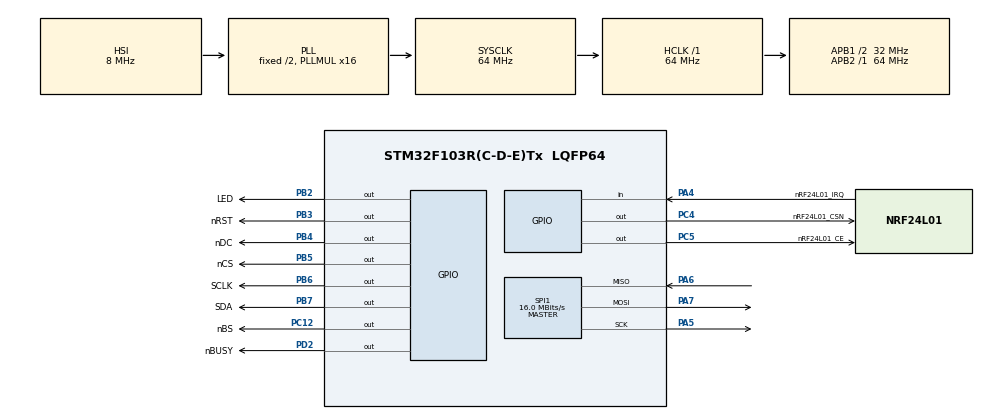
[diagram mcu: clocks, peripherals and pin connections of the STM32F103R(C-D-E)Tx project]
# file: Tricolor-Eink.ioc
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Mcu.Family=STM32F1
Mcu.Name=STM32F103R(C-D-E)Tx
Mcu.Package=LQFP64
NVIC.PriorityGroup=NVIC_PRIORITYGROUP_4
PA13.Mode=Serial_Wire
PA13.Signal=SYS_JTMS-SWDIO
PA14.Mode=Serial_Wire
PA14.Signal=SYS_JTCK-SWCLK
PA4.GPIO_Label=nRF24L01_IRQ
PA4.GPIO_PuPd=GPIO_PULLUP
PA4.Signal=GPIO_Input
PA5.Mode=Full_Duplex_Master
PA5.Signal=SPI1_SCK
PA6.Mode=Full_Duplex_Master
PA6.Signal=SPI1_MISO
PA7.Mode=Full_Duplex_Master
PA7.Signal=SPI1_MOSI
PB2.GPIO_Label=LED
PB2.Signal=GPIO_Output
PB3.GPIO_Label=nRST
PB3.GPIO_Speed=GPIO_SPEED_FREQ_HIGH
PB3.PinState=GPIO_PIN_SET
PB3.Signal=GPIO_Output
PB4.GPIO_Label=nDC
PB4.GPIO_Speed=GPIO_SPEED_FREQ_HIGH
PB4.PinState=GPIO_PIN_SET
PB4.Signal=GPIO_Output
PB5.GPIO_Label=nCS
PB5.GPIO_Speed=GPIO_SPEED_FREQ_HIGH
PB5.PinState=GPIO_PIN_SET
PB5.Signal=GPIO_Output
PB6.GPIO_Label=SCLK
PB6.GPIO_Speed=GPIO_SPEED_FREQ_HIGH
PB6.PinState=GPIO_PIN_SET
PB6.Signal=GPIO_Output
PB7.GPIO_Label=SDA
PB7.GPIO_Speed=GPIO_SPEED_FREQ_HIGH
PB7.PinState=GPIO_PIN_SET
PB7.Signal=GPIO_Output
PC12.GPIO_Label=nBS
PC12.GPIO_Speed=GPIO_SPEED_FREQ_HIGH
PC12.PinState=GPIO_PIN_SET
PC12.Signal=GPIO_Output
PC4.GPIO_Label=nRF24L01_CSN
PC4.GPIO_Speed=GPIO_SPEED_FREQ_HIGH
PC4.PinState=GPIO_PIN_SET
PC4.Signal=GPIO_Output
PC5.GPIO_Label=nRF24L01_CE
PC5.GPIO_Speed=GPIO_SPEED_FREQ_HIGH
PC5.PinState=GPIO_PIN_SET
PC5.Signal=GPIO_Output
PD2.GPIO_Label=nBUSY
PD2.GPIO_Speed=GPIO_SPEED_FREQ_HIGH
PD2.PinState=GPIO_PIN_SET
PD2.Signal=GPIO_Output
ProjectManager.HeapSize=0x200
ProjectManager.StackSize=0x400
ProjectManager.TargetToolchain=MDK-ARM V5
RCC.AHBFreq_Value=64000000
RCC.APB1CLKDivider=RCC_HCLK_DIV2
RCC.APB1Freq_Value=32000000
RCC.APB1TimFreq_Value=64000000
RCC.APB2Freq_Value=64000000
RCC.APB2TimFreq_Value=64000000
RCC.HCLKFreq_Value=64000000
RCC.PLLMUL=RCC_PLL_MUL16
RCC.SYSCLKFreq_VALUE=64000000
RCC.SYSCLKSource=RCC_SYSCLKSOURCE_PLLCLK
RCC.USBFreq_Value=64000000
SPI1.BaudRatePrescaler=SPI_BAUDRATEPRESCALER_4
SPI1.CalculateBaudRate=16.0 MBits/s
SPI1.Mode=SPI_MODE_MASTER
board=Tricolor-Eink

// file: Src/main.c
/**
  ******************************************************************************
  * File Name          : main.c
  * Description        : Main program body
  ******************************************************************************
  *
  * COPYRIGHT(c) 2016 STMicroelectronics
  *
  * Redistribution and use in source and binary forms, with or without modification,
  * are permitted provided that the following conditions are met:
  *   1. Redistributions of source code must retain the above copyright notice,
  *      this list of conditions and the following disclaimer.
  *   2. Redistributions in binary form must reproduce the above copyright notice,
  *      this list of conditions and the following disclaimer in the documentation
  *      and/or other materials provided with the distribution.
  *   3. Neither the name of STMicroelectronics nor the names of its contributors
  *      may be used to endorse or promote products derived from this software
  *      without specific prior written permission.
  *
  * THIS SOFTWARE IS PROVIDED BY THE COPYRIGHT HOLDERS AND CONTRIBUTORS "AS IS"
  * AND ANY EXPRESS OR IMPLIED WARRANTIES, INCLUDING, BUT NOT LIMITED TO, THE
  * IMPLIED WARRANTIES OF MERCHANTABILITY AND FITNESS FOR A PARTICULAR PURPOSE ARE
  * DISCLAIMED. IN NO EVENT SHALL THE COPYRIGHT HOLDER OR CONTRIBUTORS BE LIABLE
  * FOR ANY DIRECT, INDIRECT, INCIDENTAL, SPECIAL, EXEMPLARY, OR CONSEQUENTIAL
  * DAMAGES (INCLUDING, BUT NOT LIMITED TO, PROCUREMENT OF SUBSTITUTE GOODS OR
  * SERVICES; LOSS OF USE, DATA, OR PROFITS; OR BUSINESS INTERRUPTION) HOWEVER
  * CAUSED AND ON ANY THEORY OF LIABILITY, WHETHER IN CONTRACT, STRICT LIABILITY,
  * OR TORT (INCLUDING NEGLIGENCE OR OTHERWISE) ARISING IN ANY WAY OUT OF THE USE
  * OF THIS SOFTWARE, EVEN IF ADVISED OF THE POSSIBILITY OF SUCH DAMAGE.
  *
  ******************************************************************************
  */
#include "stm32f1xx_hal.h"
#include "spi.h"
#include "gpio.h"

/* USER CODE BEGIN Includes */
#include "nRF24L01.h"
#include "nRF24L01_register_L.h"
#include "string.h"
#include "EPD_W21.h"
/* USER CODE END Includes */

/* USER CODE BEGIN PV */
/* Private variables ---------------------------------------------------------*/

/* USER CODE END PV */

void SystemClock_Config(void);
void Error_Handler(void);

/* USER CODE BEGIN PFP */
/* Private function prototypes -----------------------------------------------*/

/* USER CODE END PFP */

/* USER CODE BEGIN 0 */
const uint8_t addr[5] = {0x34,0x43,0x10,0x10,0x02};
const uint8_t start_flag[] = "B";
const uint8_t eof_flag[] = "EOF";

extern unsigned char G_Ultrachip1[];
extern unsigned char G_Ultrachip_red1[];
extern unsigned char G_Ultrachip_red2[];
extern unsigned char G_Ultrachip2[];
uint32_t fpt = 0;
uint8_t rec_buff[30000] = "";
uint32_t flag = 0;
nRF24L01_RxStructure rpt;
void convert(unsigned char *pt){
	uint32_t cnt = 15000;
	while (cnt--) {
		*pt = ~*pt;
		pt++;
	}
}
/* USER CODE END 0 */

int main(void)
{

  /* USER CODE BEGIN 1 */
  static uint32_t err = 0;
  /* USER CODE END 1 */

  /* MCU Configuration----------------------------------------------------------*/

  /* Reset of all peripherals, Initializes the Flash interface and the Systick. */
  HAL_Init();

  /* Configure the system clock */
  SystemClock_Config();

  /* Initialize all configured peripherals */
  MX_GPIO_Init();
  MX_SPI1_Init();

  /* USER CODE BEGIN 2 */

  EPD_W21_Init();

  // for test
//  for (int i = 0; i < 15000; i++) {
//    rec_buff[i] = ~G_Ultrachip1[i];
//    rec_buff[i+15000] = ~G_Ultrachip_red1[i];
//  }
//  EPD_W21_Display(rec_buff, rec_buff+15000, 1);

	while (nRF24L01_Check() != _SET) {
	}
  nRF24L01_Init();
  nRF24L01_TxInit((uint8_t*)addr);
  nRF24L01_RxInit(P0, (uint8_t*)addr);
  nRF24L01_Channel_Init(40);

  /* USER CODE END 2 */

  /* Infinite loop */
  /* USER CODE BEGIN WHILE */
begin:
  while (1)
  {
  /* USER CODE END WHILE */

  /* USER CODE BEGIN 3 */
    rpt.pRec = rec_buff;
		fpt = 0;
		flag = 0;
		while (fpt <= 30000) {
			nRF24L01_RxPack(&rpt, 0);

			/* start flag */
			if (rpt.Rxnum == 1) {
				rpt.pRec[1] = 0;
				if (!strcmp((const char*)(rpt.pRec), (const char*)start_flag)) {
					rpt.pRec = rec_buff;
					fpt = 0;
					flag = 1;
					continue;
				}
			}

			/* eof flag */
			if (rpt.Rxnum == 3) {
				rpt.pRec[3] = 0;
				if (!strcmp((const char*)(rpt.pRec), (const char*)eof_flag)) {
					if (!flag)
						goto begin;
					fpt = 0;
					flag = 0;
					break;
				}
			}

			/* normal rec */
			if (rpt.Px != P0 || rpt.Rxnum != 32) {
				continue;
			}

			if (!flag)
				continue;

			/* copy to flash */
			fpt += 32;
			if (!err)
				rpt.pRec += 32;

		}
		/* display */
		#define OFFSET 18
		#define OOFSET 26
		EPD_W21_Display((const unsigned char*)rec_buff + OFFSET, (const unsigned char*)rec_buff + OOFSET + 15000, 1);
  }
  /* USER CODE END 3 */

}

/** System Clock Configuration
*/
void SystemClock_Config(void)
{

  RCC_OscInitTypeDef RCC_OscInitStruct;
  RCC_ClkInitTypeDef RCC_ClkInitStruct;

  RCC_OscInitStruct.OscillatorType = RCC_OSCILLATORTYPE_HSI;
  RCC_OscInitStruct.HSIState = RCC_HSI_ON;
  RCC_OscInitStruct.HSICalibrationValue = 16;
  RCC_OscInitStruct.PLL.PLLState = RCC_PLL_ON;
  RCC_OscInitStruct.PLL.PLLSource = RCC_PLLSOURCE_HSI_DIV2;
  RCC_OscInitStruct.PLL.PLLMUL = RCC_PLL_MUL16;
  if (HAL_RCC_OscConfig(&RCC_OscInitStruct) != HAL_OK)
  {
    Error_Handler();
  }

  RCC_ClkInitStruct.ClockType = RCC_CLOCKTYPE_HCLK|RCC_CLOCKTYPE_SYSCLK
                              |RCC_CLOCKTYPE_PCLK1|RCC_CLOCKTYPE_PCLK2;
  RCC_ClkInitStruct.SYSCLKSource = RCC_SYSCLKSOURCE_PLLCLK;
  RCC_ClkInitStruct.AHBCLKDivider = RCC_SYSCLK_DIV1;
  RCC_ClkInitStruct.APB1CLKDivider = RCC_HCLK_DIV2;
  RCC_ClkInitStruct.APB2CLKDivider = RCC_HCLK_DIV1;
  if (HAL_RCC_ClockConfig(&RCC_ClkInitStruct, FLASH_LATENCY_2) != HAL_OK)
  {
    Error_Handler();
  }

  HAL_SYSTICK_Config(HAL_RCC_GetHCLKFreq()/1000);

  HAL_SYSTICK_CLKSourceConfig(SYSTICK_CLKSOURCE_HCLK);

  /* SysTick_IRQn interrupt configuration */
  HAL_NVIC_SetPriority(SysTick_IRQn, 0, 0);
}

void Error_Handler(void)
{
  while(1)
  {
  }
}

/************************ (C) COPYRIGHT STMicroelectronics *****END OF FILE****/
